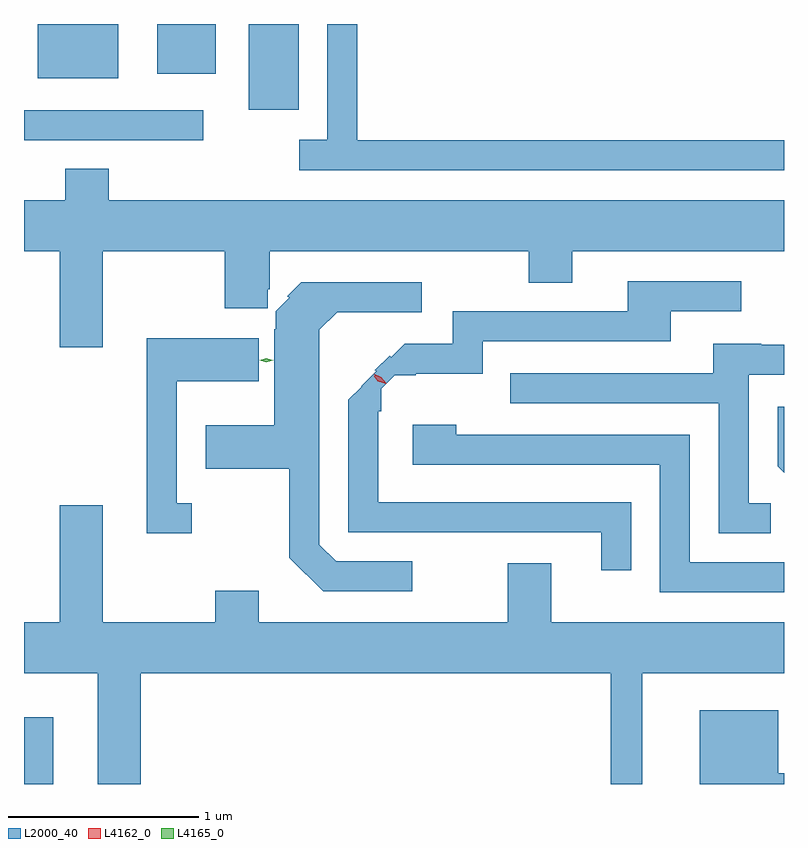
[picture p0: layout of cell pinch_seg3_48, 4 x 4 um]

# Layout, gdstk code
import gdstk
lib = gdstk.Library(unit=1e-6, precision=1e-09)
def R(c, l, rs):  # rectangles x0, y0, x1, y1
    for r in rs: c.add(gdstk.rectangle(r[:2], r[2:], *l))
def P(c, l, *ps):  # polygons
    for p in ps: c.add(gdstk.Polygon(p, *l))
L2000_40 = (2000, 40)
L4162_0 = (4162, 0)
L4165_0 = (4165, 0)

pinch_seg3_48 = lib.new_cell('pinch_seg3_48')
R(pinch_seg3_48, L2000_40, [(1138.374,1180.932,1138.529,1181.284), (1138.374,1184.321,1139.318,1184.479), (1139.556,1184.481,1139.819,1184.932), (1138.446,1184.646,1138.869,1184.932), (1139.076,1184.671,1139.384,1184.932)])
P(pinch_seg3_48, L2000_40, [(1142.374,1184.319),(1140.129,1184.319),(1140.129,1184.932),(1139.971,1184.932),(1139.971,1184.324),(1139.823,1184.324),(1139.823,1184.161),(1142.374,1184.161)],
  [(1138.789,1183.736),(1139.431,1183.736),(1139.431,1183.437),(1139.657,1183.437),(1139.657,1183.537),(1139.667,1183.537),(1139.667,1183.736),(1141.031,1183.736),(1141.031,1183.571),(1141.259,1183.571),(1141.259,1183.736),(1142.374,1183.736),(1142.374,1184.004),(1138.819,1184.004),(1138.819,1184.169),(1138.591,1184.169),(1138.591,1184.004),(1138.374,1184.004),(1138.374,1183.736),(1138.561,1183.736),(1138.561,1183.231),(1138.789,1183.231)],
  [(1141.569,1182.414),(1140.239,1182.414),(1140.239,1182.895),(1140.253,1182.895),(1140.253,1183.013),(1140.324,1183.084),(1140.435,1183.084),(1140.435,1183.091),(1140.789,1183.091),(1140.789,1183.261),(1141.779,1183.261),(1141.779,1183.421),(1142.148,1183.421),(1142.148,1183.579),(1141.551,1183.579),(1141.551,1183.419),(1140.631,1183.419),(1140.631,1183.249),(1140.378,1183.249),(1140.307,1183.179),(1140.299,1183.187),(1140.221,1183.109),(1140.227,1183.104),(1140.149,1183.026),(1140.151,1183.024),(1140.081,1182.955),(1140.081,1182.256),(1141.411,1182.256),(1141.411,1182.058),(1141.569,1182.058)],
  [(1140.418,1182.104),(1140.017,1182.104),(1139.929,1182.192),(1139.929,1183.324),(1140.022,1183.416),(1140.468,1183.416),(1140.468,1183.574),(1139.834,1183.574),(1139.76,1183.5),(1139.769,1183.491),(1139.698,1183.42),(1139.698,1183.326),(1139.69,1183.326),(1139.69,1182.819),(1139.331,1182.819),(1139.331,1182.591),(1139.771,1182.591),(1139.771,1182.124),(1139.949,1181.946),(1140.418,1181.946)],
  [(1139.258,1182.409),(1139.179,1182.409),(1139.179,1183.051),(1139.61,1183.051),(1139.61,1183.279),(1139.021,1183.279),(1139.021,1182.251),(1139.258,1182.251)],
  [(1142.303,1182.409),(1142.189,1182.409),(1142.189,1183.086),(1142.374,1183.086),(1142.374,1183.244),(1142.255,1183.244),(1142.255,1183.249),(1142.001,1183.249),(1142.001,1183.094),(1140.933,1183.094),(1140.933,1182.936),(1142.031,1182.936),(1142.031,1182.251),(1142.303,1182.251)],
  [(1142.374,1182.918),(1142.341,1182.918),(1142.341,1182.604),(1142.374,1182.571)],
  [(1142.374,1182.099),(1141.879,1182.099),(1141.879,1182.769),(1140.649,1182.769),(1140.649,1182.824),(1140.421,1182.824),(1140.421,1182.611),(1141.721,1182.611),(1141.721,1181.941),(1142.374,1181.941)],
  [(1138.989,1181.516),(1141.461,1181.516),(1141.461,1180.932),(1141.629,1180.932),(1141.629,1181.516),(1142.374,1181.516),(1142.374,1181.784),(1141.149,1181.784),(1141.149,1182.094),(1140.921,1182.094),(1140.921,1181.784),(1139.609,1181.784),(1139.609,1181.949),(1139.381,1181.949),(1139.381,1181.784),(1138.789,1181.784),(1138.789,1182.399),(1138.561,1182.399),(1138.561,1181.784),(1138.374,1181.784),(1138.374,1181.516),(1138.761,1181.516),(1138.761,1180.932),(1138.989,1180.932)],
  [(1142.374,1180.989),(1142.344,1180.989),(1142.344,1181.319),(1141.931,1181.319),(1141.931,1180.932),(1142.374,1180.932)])
P(pinch_seg3_48, L4162_0, [(1140.279,1183.039),(1140.241,1183.057),(1140.214,1183.09),(1140.214,1183.091),(1140.215,1183.091),(1140.253,1183.073),(1140.28,1183.04),(1140.28,1183.039)],
  [(1140.27,1183.04),(1140.237,1183.053),(1140.216,1183.081),(1140.216,1183.082),(1140.216,1183.082),(1140.25,1183.068),(1140.271,1183.04),(1140.271,1183.04)])
P(pinch_seg3_48, L4165_0, [(1139.65,1183.152),(1139.616,1183.162),(1139.615,1183.162),(1139.616,1183.163),(1139.65,1183.172),(1139.685,1183.163),(1139.686,1183.162),(1139.685,1183.162)],
  [(1139.65,1183.152),(1139.618,1183.162),(1139.617,1183.162),(1139.618,1183.163),(1139.65,1183.172),(1139.683,1183.163),(1139.684,1183.162),(1139.683,1183.162)])

lib.write_gds('pinch_seg3_48.gds')
